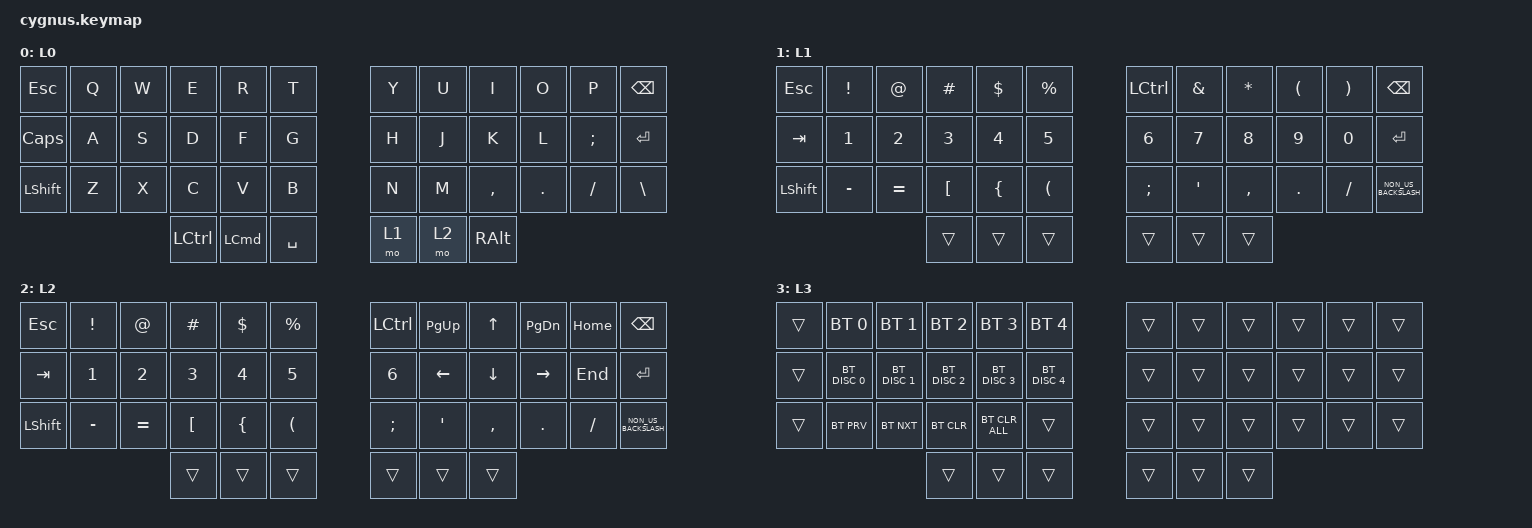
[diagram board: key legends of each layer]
/*
 * Copyright (c) 2020 The ZMK Contributors
 *
 * SPDX-License-Identifier: MIT
 */

#include <behaviors.dtsi>
#include <dt-bindings/zmk/bt.h>
#include <dt-bindings/zmk/keys.h>

&mt {
    tapping-term-ms = <160>;
    flavor = "tap-preferred";
};

&sk {
    release-after-ms = <2000>;
    quick-release;
};

/ {
    combos {
        compatible = "zmk,combos";

        esc {
            bindings = <&kp ESC>;
            key-positions = <0 1>;
        };

        tab {
            bindings = <&kp TAB>;
            key-positions = <10 11>;
        };

        btLayer {
            bindings = <&mo 3>;
            key-positions = <39 40>;
        };
    };

    behaviors {
        gqt: global-quick-tap {
            compatible = "zmk,behavior-hold-tap";
            label = "GLOBAL_QUICK_TAP";
            bindings = <&kp>, <&kp>;

            #binding-cells = <2>;
            quick-tap-ms = <200>;
            tapping-term-ms = <250>;
            global-quick-tap;
        };

        ltq: ltq {
            compatible = "zmk,behavior-hold-tap";
            label = "LTQ";
            bindings = <&mo>, <&kp>;

            #binding-cells = <2>;
            tapping-term-ms = <160>;
            global-quick-tap;
            quick-tap-ms = <160>;
            flavor = "tap-preferred";
        };

        tap_hold_1: th1 {
            compatible = "zmk,behavior-hold-tap";
            label = "th1";
            bindings = <&m1>, <&kp>;

            #binding-cells = <2>;
            tapping-term-ms = <160>;
        };
    };

    macros {
        left_bl: lbl {
            compatible = "zmk,behavior-macro";
            #binding-cells = <0>;
            bindings = <&bootloader>;
            label = "lbl";
        };

        m1: m1 {
            compatible = "zmk,behavior-macro";
            #binding-cells = <0>;
            bindings =
                <&macro_wait_time 400>,
                <&kp LC(S) &kp A &kp N5 &kp ENTER>;

            label = "m1";
        };

        m2: m2 {
            compatible = "zmk,behavior-macro";
            #binding-cells = <0>;
            bindings = <&kp S &kp N2 &kp RET>;
            label = "M2";
        };

        m3: m3 {
            compatible = "zmk,behavior-macro";
            #binding-cells = <0>;
            bindings = <&kp E &kp N2 &kp RET>;
            label = "M3";
        };

        m4: m4 {
            compatible = "zmk,behavior-macro";
            #binding-cells = <0>;
            bindings = <&kp L &kp N2 &kp RET>;
            label = "M4";
        };

        m5: m5 {
            compatible = "zmk,behavior-macro";
            #binding-cells = <0>;
            bindings =
                <&kp Q &kp N2 &kp RET>,
                <&macro_wait_time 200>,
                <&kp S &kp D &kp SPACE &kp RET>;

            label = "M5";
        };

        m6: m6 {
            compatible = "zmk,behavior-macro";
            #binding-cells = <0>;
            bindings =
                <&kp F &kp SPACE &kp RET>,
                <&macro_wait_time 200>,
                <&kp F &kp F &kp SPACE &kp RET>;

            label = "M6";
        };
    };

    keymap {
        compatible = "zmk,keymap";

        L0 {
            bindings = <
&kp ESC         &kp Q  &kp W  &kp E             &kp R             &kp T      &kp Y  &kp U  &kp I          &kp O    &kp P          &kp BACKSPACE
&kp CAPSLOCK    &kp A  &kp S  &kp D             &kp F             &kp G      &kp H  &kp J  &kp K          &kp L    &kp SEMICOLON  &kp RETURN
&kp LEFT_SHIFT  &kp Z  &kp X  &kp C             &kp V             &kp B      &kp N  &kp M  &kp COMMA      &kp DOT  &kp FSLH       &kp BSLH
                              &kp LEFT_CONTROL  &kp LEFT_COMMAND  &kp SPACE  &mo 1  &mo 2  &kp RIGHT_ALT
            >;
        };

        L1 {
            bindings = <
&kp ESC    &kp EXCLAMATION  &kp AT_SIGN   &kp HASH          &kp DOLLAR      &kp PERCENT           &kp LCTRL     &kp AMPERSAND  &kp ASTERISK  &kp LEFT_PARENTHESIS  &kp RIGHT_PARENTHESIS  &kp BSPC
&kp TAB    &kp N1           &kp NUMBER_2  &kp NUMBER_3      &kp NUMBER_4    &kp NUMBER_5          &kp NUMBER_6  &kp NUMBER_7   &kp NUMBER_8  &kp NUMBER_9          &kp NUMBER_0           &kp RET
&kp LSHFT  &kp MINUS        &kp EQUAL     &kp LEFT_BRACKET  &kp LEFT_BRACE  &kp LEFT_PARENTHESIS  &kp SEMI      &kp SQT        &kp COMMA     &kp DOT               &kp FSLH               &kp NON_US_BACKSLASH
                                          &trans            &trans          &trans                &trans        &trans         &trans
            >;
        };

        L2 {
            bindings = <
&kp ESC         &kp EXCLAMATION  &kp AT_SIGN  &kp HASH          &kp DOLLAR      &kp PERCENT           &kp LCTRL  &kp PAGE_UP     &kp UP_ARROW  &kp PAGE_DOWN  &kp HOME  &kp BSPC
&kp TAB         &kp N1           &kp N2       &kp N3            &kp N4          &kp N5                &kp N6     &kp LEFT_ARROW  &kp DOWN      &kp RIGHT      &kp END   &kp RET
&kp LEFT_SHIFT  &kp MINUS        &kp EQUAL    &kp LEFT_BRACKET  &kp LEFT_BRACE  &kp LEFT_PARENTHESIS  &kp SEMI   &kp SQT         &kp COMMA     &kp DOT        &kp FSLH  &kp NON_US_BACKSLASH
                                              &trans            &trans          &trans                &trans     &trans          &trans
            >;
        };

        L3 {
            bindings = <
&trans  &bt BT_SEL 0   &bt BT_SEL 1   &bt BT_SEL 2   &bt BT_SEL 3    &bt BT_SEL 4   &trans  &trans  &trans  &trans  &trans  &trans
&trans  &bt BT_DISC 0  &bt BT_DISC 1  &bt BT_DISC 2  &bt BT_DISC 3   &bt BT_DISC 4  &trans  &trans  &trans  &trans  &trans  &trans
&trans  &bt BT_PRV     &bt BT_NXT     &bt BT_CLR     &bt BT_CLR_ALL  &trans         &trans  &trans  &trans  &trans  &trans  &trans
                                      &trans         &trans          &trans         &trans  &trans  &trans
            >;
        };
    };
};
